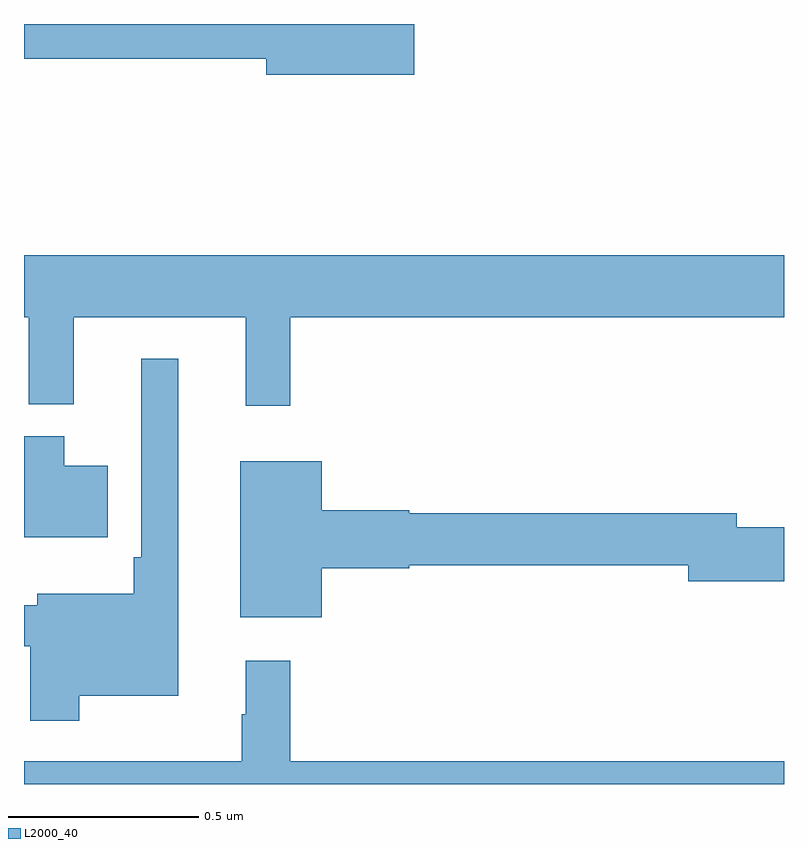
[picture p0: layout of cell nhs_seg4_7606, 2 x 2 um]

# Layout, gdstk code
import gdstk
lib = gdstk.Library(unit=1e-6, precision=1e-09)
def P(c, l, *ps):  # polygons
    for p in ps: c.add(gdstk.Polygon(p, *l))
L2000_40 = (2000, 40)

nhs_seg4_7606 = lib.new_cell('nhs_seg4_7606')
P(nhs_seg4_7606, L2000_40, [(205.027,822.9),(204,822.9),(204,822.808),(204.638,822.808),(204.638,822.766),(205.027,822.766)],
  [(204.701,822.128),(206,822.128),(206,822.292),(204,822.292),(204,822.128),(204.013,822.128),(204.013,821.9),(204.131,821.9),(204.131,822.128),(204.584,822.128),(204.584,821.895),(204.701,821.895)],
  [(204.145,821.132),(204.406,821.132),(204.406,822.019),(204.309,822.019),(204.309,821.497),(204.289,821.497),(204.289,821.401),(204.035,821.401),(204.035,821.371),(204,821.371),(204,821.262),(204.016,821.262),(204.016,821.067),(204.145,821.067)],
  [(204.22,821.737),(204.106,821.737),(204.106,821.815),(204,821.815),(204,821.549),(204.22,821.549)],
  [(204.784,821.468),(205.014,821.468),(205.014,821.476),(205.748,821.476),(205.748,821.434),(206,821.434),(206,821.576),(205.876,821.576),(205.876,821.612),(205.014,821.612),(205.014,821.62),(204.784,821.62),(204.784,821.749),(204.569,821.749),(204.569,821.339),(204.784,821.339)],
  [(206,820.96),(204.701,820.96),(204.701,821.224),(204.584,821.224),(204.584,821.084),(204.573,821.084),(204.573,820.96),(204,820.96),(204,820.9),(206,820.9)])

lib.write_gds('nhs_seg4_7606.gds')
